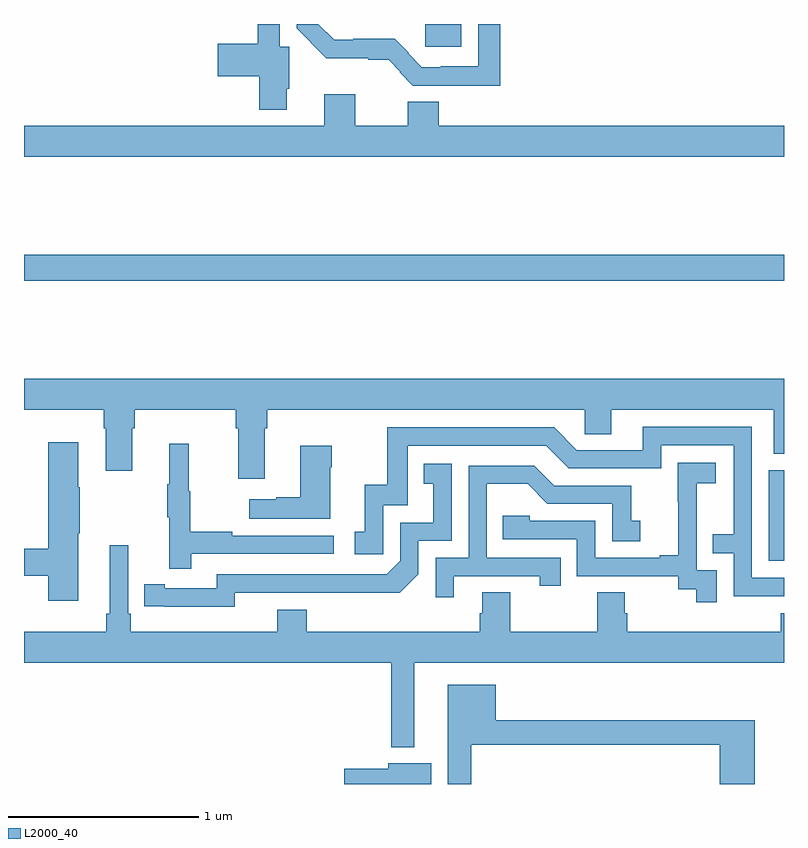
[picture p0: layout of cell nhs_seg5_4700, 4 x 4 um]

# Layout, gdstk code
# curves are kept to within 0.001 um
import gdstk
lib = gdstk.Library(unit=1e-6, precision=1e-09)
def R(c, l, rs):  # rectangles x0, y0, x1, y1
    for r in rs: c.add(gdstk.rectangle(r[:2], r[2:], *l))
def P(c, l, *ps):  # polygons
    for p in ps: c.add(gdstk.Polygon(p, *l))
L2000_40 = (2000, 40)

nhs_seg5_4700 = lib.new_cell('nhs_seg5_4700')
R(nhs_seg5_4700, L2000_40, [(390.921,847.974,391,848.451), (387,849.448,391,849.584), (389.112,850.678,389.302,850.799)])
P(nhs_seg5_4700, L2000_40, [(388.384,850.459),(388.397,850.459),(388.397,850.68),(388.347,850.68),(388.347,850.799),(388.231,850.799),(388.231,850.694),(388.02,850.694),(388.02,850.523),(388.238,850.523),(388.238,850.349),(388.384,850.349)],
  [(389.507,850.799),(389.391,850.799),(389.391,850.576),(389.194,850.576),(389.194,850.572),(389.094,850.572),(389.022,850.644),(389.025,850.647),(388.951,850.721),(388.732,850.721),(388.732,850.716),(388.632,850.716),(388.549,850.799),(388.436,850.799),(388.436,850.776),(388.591,850.619),(388.811,850.619),(388.811,850.611),(388.919,850.611),(388.981,850.549),(388.977,850.545),(389.047,850.475),(389.507,850.475)],
  [(391,850.264),(389.182,850.264),(389.182,850.39),(389.021,850.39),(389.021,850.264),(388.744,850.264),(388.744,850.429),(388.58,850.429),(388.58,850.264),(387,850.264),(387,850.1),(391,850.1)],
  [(388.267,848.672),(388.28,848.672),(388.28,848.768),(389.952,848.768),(389.952,848.641),(390.091,848.641),(390.091,848.768),(390.947,848.768),(390.947,848.536),(391,848.536),(391,848.932),(387,848.932),(387,848.768),(387.419,848.768),(387.419,848.672),(387.431,848.672),(387.431,848.448),(387.571,848.448),(387.571,848.672),(387.584,848.672),(387.584,848.768),(388.115,848.768),(388.115,848.672),(388.127,848.672),(388.127,848.406),(388.267,848.406)],
  [(391,847.884),(390.831,847.884),(390.831,848.679),(390.257,848.679),(390.257,848.556),(389.91,848.556),(389.79,848.676),(388.911,848.676),(388.911,848.374),(388.793,848.374),(388.793,848.127),(388.74,848.127),(388.74,848.007),(388.89,848.007),(388.89,848.265),(389.019,848.265),(389.019,848.58),(389.748,848.58),(389.868,848.46),(390.354,848.46),(390.354,848.583),(390.735,848.583),(390.735,848.114),(390.625,848.114),(390.625,848.013),(390.735,848.013),(390.735,847.788),(391,847.788)],
  [(387.286,848.119),(387.294,848.119),(387.294,848.36),(387.286,848.36),(387.286,848.599),(387.128,848.599),(387.128,848.036),(387,848.036),(387,847.894),(387.128,847.894),(387.128,847.764),(387.286,847.764)],
  [(387.881,848.01),(388.63,848.01),(388.63,848.106),(388.097,848.106),(388.097,848.126),(387.874,848.126),(387.874,848.34),(387.866,848.34),(387.866,848.59),(387.764,848.59),(387.764,848.377),(387.753,848.377),(387.753,848.203),(387.764,848.203),(387.764,847.932),(387.881,847.932)],
  [(388.612,848.465),(388.62,848.465),(388.62,848.578),(388.454,848.578),(388.454,848.309),(388.328,848.309),(388.328,848.299),(388.185,848.299),(388.185,848.195),(388.612,848.195)],
  [(390.645,847.923),(390.54,847.923),(390.54,848.153),(390.542,848.153),(390.542,848.381),(390.64,848.381),(390.64,848.491),(390.442,848.491),(390.442,848.285),(390.443,848.285),(390.443,848.002),(390.347,848.002),(390.347,847.989),(390.006,847.989),(390.006,848.184),(389.661,848.184),(389.661,848.211),(389.521,848.211),(389.521,848.088),(389.91,848.088),(389.91,847.893),(390.444,847.893),(390.444,847.825),(390.537,847.825),(390.537,847.755),(390.645,847.755)],
  [(388.11,847.806),(388.978,847.805),(389.076,847.902),(389.076,848.079),(389.25,848.079),(389.25,848.485),(389.104,848.485),(389.104,848.379),(389.153,848.379),(389.153,848.175),(388.98,848.175),(388.98,847.974),(388.908,847.902),(388.014,847.902),(388.014,847.83),(387.742,847.83),(387.742,847.85),(387.634,847.85),(387.634,847.734),(388.11,847.733)],
  [(389.263,847.893),(389.714,847.893),(389.714,847.842),(389.825,847.842),(389.825,847.989),(389.436,847.989),(389.436,848.378),(389.65,848.378),(389.754,848.274),(390.096,848.274),(390.096,848.076),(390.244,848.076),(390.244,848.185),(390.195,848.185),(390.195,848.37),(389.791,848.37),(389.686,848.475),(389.34,848.475),(389.34,847.989),(389.166,847.989),(389.166,847.782),(389.263,847.782)],
  [(389.053,847.436),(391,847.436),(391,847.699),(390.983,847.699),(390.983,847.6),(390.176,847.6),(390.176,847.698),(390.163,847.698),(390.163,847.808),(390.016,847.808),(390.016,847.6),(389.559,847.6),(389.559,847.808),(389.411,847.808),(389.411,847.698),(389.399,847.698),(389.399,847.6),(388.487,847.6),(388.487,847.717),(388.334,847.717),(388.334,847.6),(387.563,847.6),(387.563,847.696),(387.549,847.696),(387.549,848.056),(387.452,848.056),(387.452,847.696),(387.433,847.696),(387.433,847.6),(387,847.6),(387,847.436),(388.932,847.436),(388.932,846.992),(389.053,846.992)],
  [(389.353,847.006),(390.662,847.006),(390.662,846.799),(390.845,846.799),(390.845,847.135),(389.482,847.135),(389.482,847.321),(389.231,847.321),(389.231,846.799),(389.353,846.799)],
  [(389.143,846.907),(388.916,846.907),(388.916,846.878),(388.686,846.878),(388.686,846.799),(389.143,846.799)])

lib.write_gds('nhs_seg5_4700.gds')
